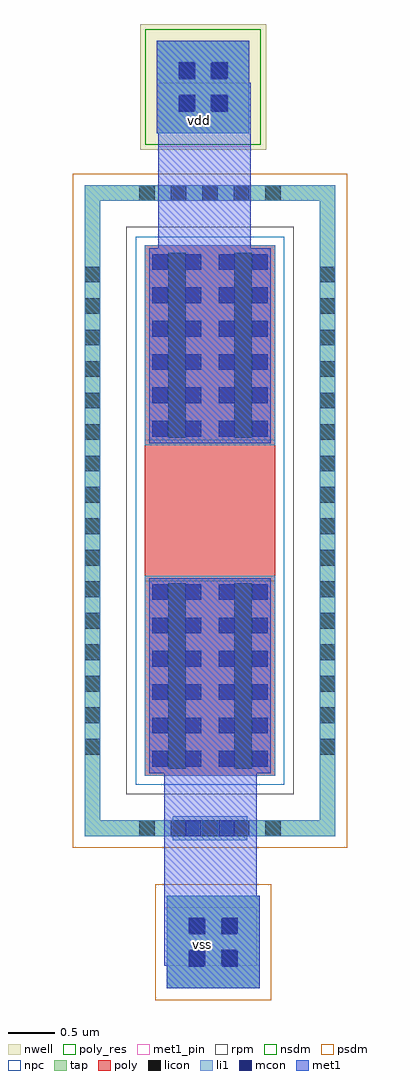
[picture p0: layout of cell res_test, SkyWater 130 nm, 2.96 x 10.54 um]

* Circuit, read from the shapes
.subckt res_test vdd vss
XR1 vdd vss vss sky130_fd_pr__res_high_po w=1.41 l=1.41
.ends

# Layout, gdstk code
import gdstk
lib = gdstk.Library(unit=1e-6, precision=5e-09)
def R(c, l, rs):  # rectangles x0, y0, x1, y1
    for r in rs: c.add(gdstk.rectangle(r[:2], r[2:], *l))
def A(c, l, x, y, w, h, nx, ny, dx, dy):  # array of equal rectangles
    R(c, l, [(x+i*dx, y+j*dy, x+i*dx+w, y+j*dy+h) for i in range(nx) for j in range(ny)])
nwell = (64, 20)
tap = (65, 44)
poly_res = (66, 13)
poly = (66, 20)
licon = (66, 44)
li1 = (67, 20)
mcon = (67, 44)
met1_pin = (68, 16)
met1 = (68, 20)
rpm = (86, 20)
nsdm = (93, 44)
psdm = (94, 20)
npc = (95, 20)

res_poly = lib.new_cell('res_poly')
R(res_poly, tap, [(-1.355,-3.515,1.355,-3.345), (-1.355,-3.345,-1.185,3.345), (1.185,-3.345,1.355,3.345), (-1.355,3.345,1.355,3.515)])
R(res_poly, poly_res, [(-0.705,-0.765,0.705,0.765)])
R(res_poly, poly, [(-0.705,-2.865,0.705,2.865)])
A(res_poly, licon, -0.765, -3.515, 0.17, 0.17, 5, 2, 0.34, 6.86)
A(res_poly, licon, -1.355, -2.635, 0.17, 0.17, 1, 16, 0, 0.34)
A(res_poly, licon, 1.185, -2.635, 0.17, 0.17, 1, 16, 0, 0.34)
R(res_poly, licon, [(-0.45,-2.785,-0.26,-0.785), (0.26,-2.785,0.45,-0.785), (-0.45,0.785,-0.26,2.785), (0.26,0.785,0.45,2.785)])
R(res_poly, li1, [(-1.355,-3.515,1.355,-3.345), (-1.355,-3.345,-1.185,3.345), (1.185,-3.345,1.355,3.345), (-0.705,-2.865,0.705,-0.705), (-0.705,0.705,0.705,2.865), (-1.355,3.345,1.355,3.515)])
A(res_poly, mcon, -0.625, -2.765, 0.17, 0.17, 4, 6, 0.36, 0.36)
A(res_poly, mcon, -0.625, 0.8, 0.17, 0.17, 4, 6, 0.36, 0.36)
R(res_poly, met1, [(-0.655,-2.835,0.655,-0.73), (-0.655,0.73,0.655,2.835)])
R(res_poly, rpm, [(-0.905,-3.065,0.905,3.065)])
R(res_poly, psdm, [(-1.48,-3.64,1.48,3.64)])
R(res_poly, npc, [(-0.8,-2.96,0.8,2.96)])

vias_gen = lib.new_cell('vias_gen')
R(vias_gen, li1, [(0,0,0.8,0.26)])
R(vias_gen, mcon, [(0.135,0.045,0.305,0.215), (0.495,0.045,0.665,0.215)])
R(vias_gen, met1, [(0,0,0.8,0.26)])

vias_gen_1 = lib.new_cell('vias_gen$1')
R(vias_gen_1, nwell, [(-0.18,-0.18,1.18,1.18)])
R(vias_gen_1, tap, [(0,0,1,1)])
R(vias_gen_1, licon, [(0.245,0.245,0.415,0.415), (0.585,0.245,0.755,0.415), (0.245,0.585,0.415,0.755), (0.585,0.585,0.755,0.755)])
R(vias_gen_1, li1, [(0,0,1,1)])
R(vias_gen_1, mcon, [(0.235,0.235,0.405,0.405), (0.595,0.235,0.765,0.405), (0.235,0.595,0.405,0.765), (0.595,0.595,0.765,0.765)])
R(vias_gen_1, met1, [(0,0,1,1)])
R(vias_gen_1, nsdm, [(-0.125,-0.125,1.125,1.125)])

vias_gen_2 = lib.new_cell('vias_gen$2')
R(vias_gen_2, tap, [(0,0,1,1)])
R(vias_gen_2, licon, [(0.245,0.245,0.415,0.415), (0.585,0.245,0.755,0.415), (0.245,0.585,0.415,0.755), (0.585,0.585,0.755,0.755)])
R(vias_gen_2, li1, [(0,0,1,1)])
R(vias_gen_2, mcon, [(0.235,0.235,0.405,0.405), (0.595,0.235,0.765,0.405), (0.235,0.595,0.405,0.765), (0.595,0.595,0.765,0.765)])
R(vias_gen_2, met1, [(0,0,1,1)])
R(vias_gen_2, psdm, [(-0.125,-0.125,1.125,1.125)])

res_test = lib.new_cell('res_test')
R(res_test, met1_pin, [(0.985,0,1.985,0.63), (0.92,8.845,1.92,9.535)])
res_test.add(gdstk.FlexPath([(1.42,6.435),(1.42,9.535)], 1, ends="flush", simple_path=True, layer=68, datatype=20))  # met1
res_test.add(gdstk.FlexPath([(1.485,0),(1.485,3.1)], 1, ends="flush", simple_path=True, layer=68, datatype=20))  # met1
res_test.add(gdstk.Reference(res_poly, (1.48,4.915)))
res_test.add(gdstk.Reference(vias_gen, (1.08,1.355)))
res_test.add(gdstk.Reference(vias_gen_1, (0.905,8.99)))
res_test.add(gdstk.Reference(vias_gen_2, (1.015,-0.245)))
res_test.add(gdstk.Label('vdd', (1.365,9.125), layer=68, texttype=16))
res_test.add(gdstk.Label('vss', (1.395,0.225), layer=68, texttype=16))

lib.write_gds('res_test.gds')
